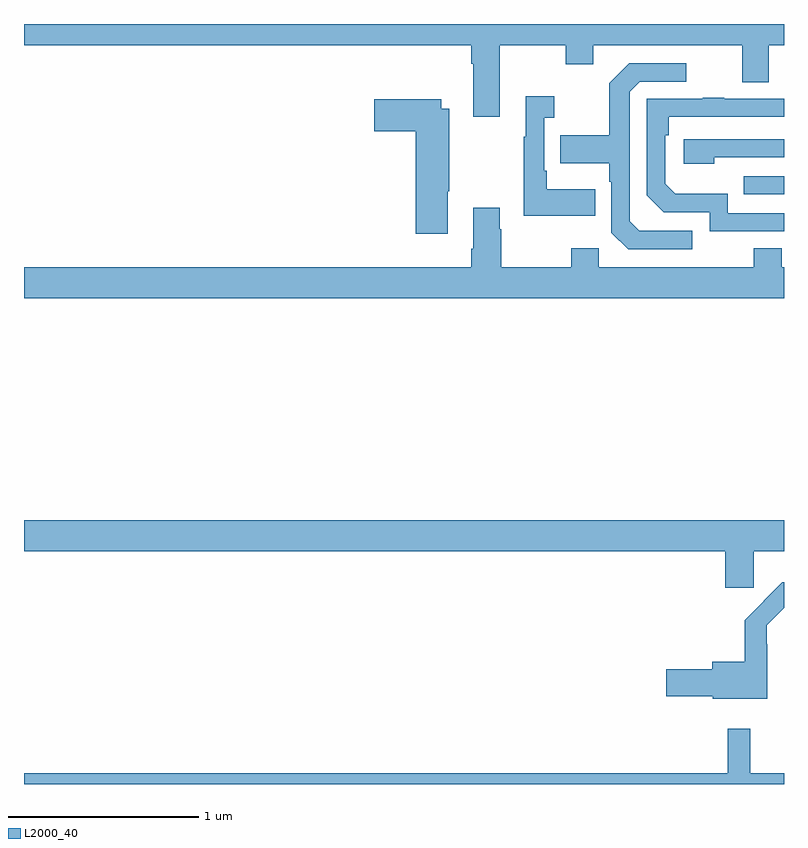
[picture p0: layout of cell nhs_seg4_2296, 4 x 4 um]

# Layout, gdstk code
import gdstk
lib = gdstk.Library(unit=1e-6, precision=1e-09)
def R(c, l, rs):  # rectangles x0, y0, x1, y1
    for r in rs: c.add(gdstk.rectangle(r[:2], r[2:], *l))
def P(c, l, *ps):  # polygons
    for p in ps: c.add(gdstk.Polygon(p, *l))
L2000_40 = (2000, 40)

nhs_seg4_2296 = lib.new_cell('nhs_seg4_2296')
R(nhs_seg4_2296, L2000_40, [(232.789,828.003,233,828.099)])
P(nhs_seg4_2296, L2000_40, [(231.505,828.788),(231.85,828.788),(231.85,828.689),(231.997,828.689),(231.997,828.788),(232.781,828.788),(232.781,828.594),(232.921,828.594),(232.921,828.788),(233,828.788),(233,828.9),(229,828.9),(229,828.788),(231.353,828.788),(231.353,828.692),(231.365,828.692),(231.365,828.411),(231.505,828.411)],
  [(232.516,827.811),(232.239,827.811),(232.188,827.862),(232.188,828.543),(232.242,828.597),(232.486,828.597),(232.486,828.693),(232.185,828.693),(232.08,828.587),(232.08,828.315),(231.823,828.315),(231.823,828.167),(232.08,828.167),(232.08,828.071),(232.092,828.071),(232.092,827.802),(232.179,827.715),(232.516,827.715)],
  [(232.007,828.031),(231.751,828.031),(231.751,828.127),(231.738,828.127),(231.738,828.407),(231.79,828.407),(231.79,828.52),(231.641,828.52),(231.641,828.307),(231.63,828.307),(231.63,827.891),(232.007,827.891)],
  [(233,827.904),(232.704,827.904),(232.704,828.007),(232.427,828.007),(232.374,828.06),(232.374,828.314),(232.394,828.314),(232.394,828.411),(233,828.411),(233,828.507),(232.685,828.507),(232.685,828.512),(232.573,828.512),(232.573,828.507),(232.278,828.507),(232.278,828),(232.368,827.91),(232.608,827.91),(232.608,827.808),(233,827.808)],
  [(231.229,828.019),(231.237,828.019),(231.237,828.454),(231.196,828.454),(231.196,828.505),(230.844,828.505),(230.844,828.335),(231.062,828.335),(231.062,827.796),(231.229,827.796)],
  [(232.634,828.198),(233,828.198),(233,828.294),(232.473,828.294),(232.473,828.164),(232.634,828.164)],
  [(233,827.62),(232.987,827.62),(232.987,827.719),(232.84,827.719),(232.84,827.62),(232.026,827.62),(232.026,827.719),(231.88,827.719),(231.88,827.62),(231.513,827.62),(231.513,827.819),(231.505,827.819),(231.505,827.932),(231.365,827.932),(231.365,827.716),(231.353,827.716),(231.353,827.62),(229,827.62),(229,827.456),(233,827.456)],
  [(232.841,826.124),(233,826.124),(233,826.288),(229,826.288),(229,826.124),(232.691,826.124),(232.691,825.933),(232.841,825.933)],
  [(232.911,825.635),(232.908,825.635),(232.908,825.735),(233,825.827),(233,825.961),(232.99,825.961),(232.793,825.763),(232.793,825.544),(232.622,825.544),(232.622,825.503),(232.38,825.503),(232.38,825.361),(232.626,825.361),(232.626,825.35),(232.911,825.35)],
  [(233,824.956),(232.823,824.956),(232.823,825.19),(232.705,825.19),(232.705,824.956),(229,824.956),(229,824.9),(233,824.9)])

lib.write_gds('nhs_seg4_2296.gds')
